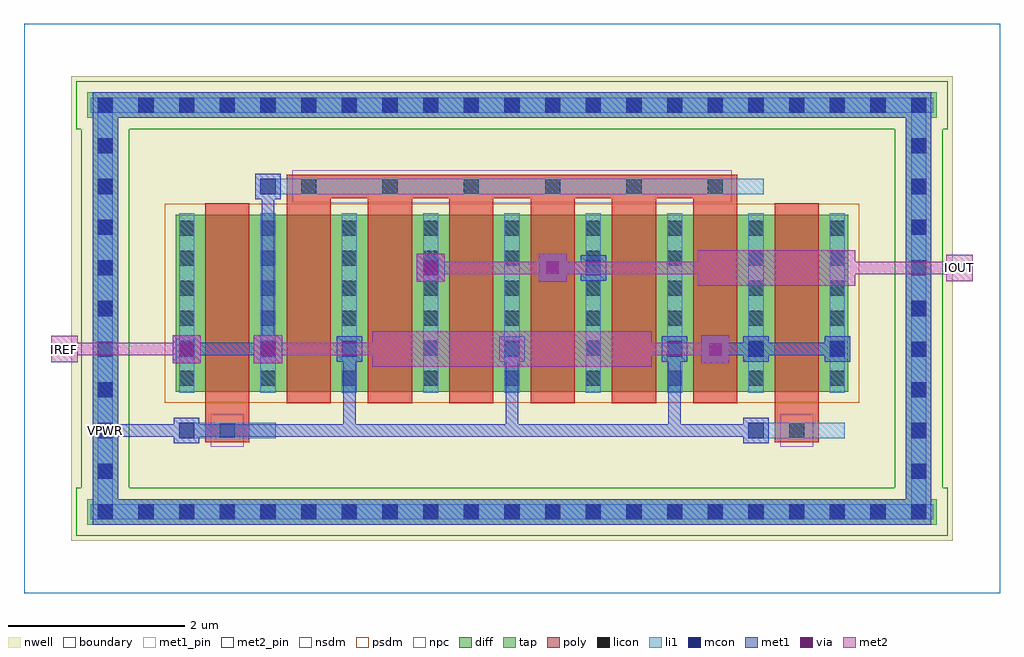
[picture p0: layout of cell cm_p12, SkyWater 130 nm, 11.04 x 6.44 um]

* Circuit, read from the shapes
.subckt cm_p12 IOUT IREF VPWR
XM1 IREF VPWR IREF VPWR sky130_fd_pr__pfet_01v8 w=2 l=0.5 m=2
XM2 VPWR IREF IREF VPWR sky130_fd_pr__pfet_01v8 w=2 l=0.5 m=2
XM3 IOUT IREF VPWR VPWR sky130_fd_pr__pfet_01v8 w=2 l=0.5 m=4
.ends

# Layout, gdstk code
import gdstk
lib = gdstk.Library(unit=1e-6, precision=1e-09)
def R(c, l, rs):  # rectangles x0, y0, x1, y1
    for r in rs: c.add(gdstk.rectangle(r[:2], r[2:], *l))
def A(c, l, x, y, w, h, nx, ny, dx, dy):  # array of equal rectangles
    R(c, l, [(x+i*dx, y+j*dy, x+i*dx+w, y+j*dy+h) for i in range(nx) for j in range(ny)])
nwell = (64, 20)
diff = (65, 20)
tap = (65, 44)
poly = (66, 20)
licon = (66, 44)
li1 = (67, 20)
mcon = (67, 44)
met1_pin = (68, 16)
met1 = (68, 20)
via = (68, 44)
met2_pin = (69, 16)
met2 = (69, 20)
nsdm = (93, 44)
psdm = (94, 20)
npc = (95, 20)
boundary = (235, 4)

cm_p12 = lib.new_cell('cm_p12')
R(cm_p12, nwell, [(0.535,0.595,10.505,5.845)])
R(cm_p12, diff, [(1.715,2.28,9.325,4.28)])
R(cm_p12, tap, [(0.715,0.775,10.325,1.065), (0.775,0.775,1.065,5.665), (9.975,0.775,10.265,5.665), (0.715,5.375,10.325,5.665)])
A(cm_p12, poly, 2.97, 2.15, 0.5, 2.45, 6, 1, 0.92, 0)
R(cm_p12, poly, [(2.05,1.705,2.55,1.975), (8.49,1.705,8.99,1.975), (2.05,1.84,2.55,4.41), (8.49,1.84,8.99,4.41), (2.97,4.465,8.07,4.735)])
A(cm_p12, licon, 0.835, 0.835, 0.17, 0.17, 21, 2, 0.46, 4.6)
A(cm_p12, licon, 0.835, 1.295, 0.17, 0.17, 1, 9, 0, 0.46)
A(cm_p12, licon, 10.035, 1.295, 0.17, 0.17, 1, 9, 0, 0.46)
A(cm_p12, licon, 1.755, 2.345, 0.17, 0.17, 9, 6, 0.92, 0.34)
A(cm_p12, licon, 3.135, 4.515, 0.17, 0.17, 6, 1, 0.92, 0)
R(cm_p12, licon, [(2.215,1.755,2.385,1.925), (8.655,1.755,8.825,1.925)])
A(cm_p12, li1, 1.755, 2.265, 0.17, 2.03, 9, 1, 0.92, 0)
R(cm_p12, li1, [(0.755,0.835,10.285,1.005), (0.835,0.835,1.005,5.605), (10.035,0.835,10.205,5.605), (1.755,1.755,2.845,1.925), (8.195,1.755,9.285,1.925), (2.675,4.515,8.365,4.685), (0.755,5.435,10.285,5.605)])
A(cm_p12, mcon, 0.835, 0.835, 0.17, 0.17, 21, 2, 0.46, 4.6)
A(cm_p12, mcon, 0.835, 1.295, 0.17, 0.17, 1, 3, 0, 0.46)
A(cm_p12, mcon, 10.035, 1.295, 0.17, 0.17, 1, 3, 0, 0.46)
A(cm_p12, mcon, 0.835, 2.675, 0.17, 0.17, 4, 1, 0.92, 0)
A(cm_p12, mcon, 7.275, 2.675, 0.17, 0.17, 4, 1, 0.92, 0)
A(cm_p12, mcon, 0.835, 3.135, 0.17, 0.17, 1, 5, 0, 0.46)
A(cm_p12, mcon, 10.035, 3.135, 0.17, 0.17, 1, 5, 0, 0.46)
R(cm_p12, mcon, [(1.755,1.755,1.925,1.925), (8.195,1.755,8.365,1.925), (5.435,2.675,5.605,2.845), (4.515,3.595,4.685,3.765), (6.355,3.595,6.525,3.765), (2.675,4.515,2.845,4.685)])
R(cm_p12, met1_pin, [(0.85,1.77,0.99,1.91)])
A(cm_p12, met1, 1.77, 1.77, 1.98, 0.14, 3, 1, 1.84, 0)
A(cm_p12, met1, 3.61, 1.77, 0.14, 1.06, 3, 1, 1.84, 0)
A(cm_p12, met1, 1.695, 2.615, 0.29, 0.29, 3, 1, 0.92, 0)
A(cm_p12, met1, 7.215, 2.615, 0.29, 0.29, 3, 1, 0.92, 0)
R(cm_p12, met1, [(0.775,0.775,10.265,1.065), (0.775,0.775,1.065,5.665), (9.975,0.775,10.265,5.665), (1.695,1.695,1.985,1.985), (8.135,1.695,8.425,1.985), (0.85,1.77,1.91,1.91), (0.85,1.77,0.99,1.91), (0.85,1.77,0.99,5.59), (7.29,1.77,8.35,1.91), (1.68,2.6,2,2.92), (2.6,2.6,2.92,2.92), (7.66,2.6,7.98,2.92), (5.375,2.615,5.665,2.905), (1.77,2.69,2.83,2.83), (2.69,2.69,2.83,4.67), (7.75,2.69,8.35,2.83), (8.21,2.69,9.27,2.83), (4.44,3.52,4.76,3.84), (5.82,3.52,6.14,3.84), (4.455,3.535,4.745,3.825), (6.295,3.535,6.585,3.825), (5.91,3.61,6.51,3.75), (2.615,4.455,2.905,4.745), (0.775,5.375,10.265,5.665), (0.85,5.45,0.99,5.59)])
R(cm_p12, via, [(1.765,2.685,1.915,2.835), (2.685,2.685,2.835,2.835), (7.745,2.685,7.895,2.835), (4.525,3.605,4.675,3.755), (5.905,3.605,6.055,3.755)])
R(cm_p12, met2_pin, [(0.31,2.61,0.61,2.91), (10.43,3.53,10.73,3.83)])
R(cm_p12, met2, [(3.94,2.56,7.1,2.96), (1.68,2.6,2,2.92), (2.6,2.6,2.92,2.92), (7.66,2.6,7.98,2.92), (0.31,2.61,0.61,2.91), (0.39,2.69,0.53,2.83), (0.39,2.69,1.91,2.83), (2.69,2.69,4.21,2.83), (6.83,2.69,7.89,2.83), (7.62,3.48,9.4,3.88), (4.44,3.52,4.76,3.84), (5.82,3.52,6.14,3.84), (10.43,3.53,10.73,3.83), (4.53,3.61,6.05,3.75), (5.91,3.61,7.89,3.75), (9.13,3.61,10.65,3.75), (10.51,3.61,10.65,3.75)])
R(cm_p12, nsdm, [(0.59,0.65,10.45,1.19), (0.65,1.19,1.19,5.25), (9.85,1.19,10.39,5.25), (0.59,5.25,10.45,5.79)])
R(cm_p12, psdm, [(1.59,2.155,9.45,4.405)])
R(cm_p12, npc, [(2.115,1.655,2.485,2.025), (8.555,1.655,8.925,2.025), (3.035,4.415,8.005,4.785)])
R(cm_p12, boundary, [(0,0,11.04,6.44)])
cm_p12.add(gdstk.Label('VPWR', (0.92,1.84), layer=68, texttype=5))
cm_p12.add(gdstk.Label('IREF', (0.46,2.76), layer=69, texttype=5))
cm_p12.add(gdstk.Label('IOUT', (10.58,3.68), layer=69, texttype=5))
cm_p12.add(gdstk.Label('VPWR', (0.92,1.84), layer=68, texttype=16))
cm_p12.add(gdstk.Label('IREF', (0.46,2.76), layer=69, texttype=16))
cm_p12.add(gdstk.Label('IOUT', (10.58,3.68), layer=69, texttype=16))

lib.write_gds('cm_p12.gds')
